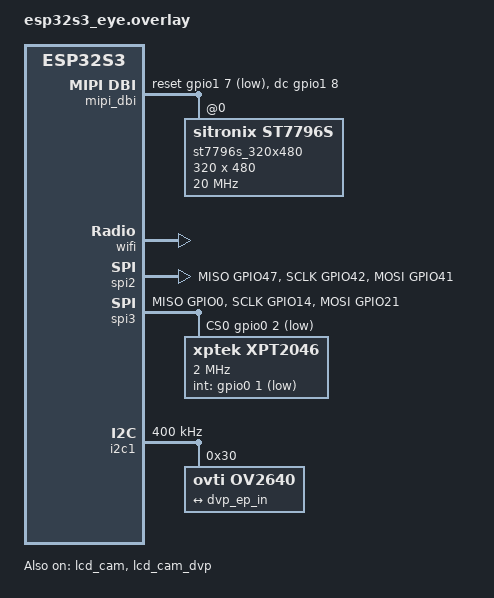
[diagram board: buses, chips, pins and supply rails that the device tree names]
// ---------------------------------------------------------------------------------------------------------------------------------------------
// west build -p always -b esp32s3_eye/esp32s3/procpu -- -DDTC_OVERLAY_FILE=boards/esp32s3_eye.overlay -DEXTRA_CONF_FILE=boards/esp32s3_eye.conf
// ---------------------------------------------------------------------------------------------------------------------------------------------

/* ----------------------|  Display  |---------------------  */
/* https://www.lcdwiki.com/4.0inch_SPI_Module_ST7796 */

// MIPI DBI (Display Bus Interface) - универсальный драйвер-адаптер для управления LCD-контроллерами через SPI.
#include <zephyr/dt-bindings/mipi_dbi/mipi_dbi.h>

/* Узел chosen - Zephyr узел, который указывает какие устройства использовать в этом приложении. */
/ {
    	chosen {
		/* Свойство zephyr,display -  Ключ (property name) в формате vendor,property
			- vendor = zephyr (производитель/namespace)
			- property = display (сущность, которую описывает свойство)
		Присваивание значения - phandle (указатель на узел)
			- & - оператор взятия ссылки на узел
			- st7796s_320x480 - label (метка) другого узла в DTS */
        zephyr,display = &st7796s_320x480;

		/* Свойство zephyr,camera -  Ключ (property name) в формате vendor,property
			- vendor = zephyr (производитель/namespace)
			- property = camera (сущность, которую описывает свойство)
		Присваивание значения - phandle (указатель на узел)
			- & - оператор взятия ссылки на узел
			- lcd_cam_dvp - label (метка) другого узла в DTS */
		zephyr,camera = &lcd_cam_dvp;

		/* Свойство zephyr,touch - обязательно для sample draw_touch_events
		(README сэмпла явно требует, чтобы были заданы оба chosen: zephyr,display И zephyr,touch).
			- vendor = zephyr
			- property = touch
		Присваивание значения - phandle на узел xpt2046, объявленный ниже, внутри &spi3
		(отдельная от дисплея SPI-шина, см. пояснение у узла &spi3). */
		zephyr,touch = &xpt2046;
    	};


	/* Узел mipi_dbi реализует транспортный уровень между:
		- драйвером дисплейного контроллера ST7796S
		- SPI-контроллером ESP32
		- GPIO сигналами (DC, RESET) */
    	mipi_dbi {
		// Использовать драйвер mipi_dbi_spi
		compatible = "zephyr,mipi-dbi-spi";
		// Определить SPI контроллер через ссылку на узел spi2 в devicetree.
		spi-dev = <&spi2>;
		// Определить пин для переключения режима SPI передачи (DC (Data/Command)).
		dc-gpios = <&gpio1 8 GPIO_ACTIVE_HIGH>;  // DC/RS pin
		// Определить пин для аппаратного reset дисплея.
        reset-gpios = <&gpio1 7 GPIO_ACTIVE_LOW>;   // RESET pin
		// Адрес устройства на шине занимает одну 32-битную ячейку.
		#address-cells = <1>;
		// Размер не задаётся (SPI-устройства не имеют диапазона адресов).
		#size-cells = <0>;

		/* Объявление узла st7796s_320x480 дисплея:
		- st7796s_320x480: - Label (метка) для этого узла, используется для ссылок.
		- st7796s@0 - Имя узла в формате name@unit-address
			+ st7796s - имя (произвольное, описательное)
			+ @ - разделитель
			+ 0 - unit address (адрес устройства на шине), взят из datasheet.*/
		st7796s_320x480: st7796s@0 {
			// Использовать драйвер дисплея "sitronix,st7796s".
			compatible = "sitronix,st7796s";
			// Включить устройство.
			status = "okay";
			// Адрес устройства на шине, взят из datasheet.
            		reg = <0>;
			// Максимальная тактовая частота SPI для дисплея.
			mipi-max-frequency = <20000000>;
			// 4 линии для SPI: CLK, MOSI, MISO, CS + отдельный DC пин.
			mipi-mode = "MIPI_DBI_MODE_SPI_4WIRE";
			// Ширина дисплея.
			width = <320>;
			// Высота дисплея.
			height = <480>;

			/* Регистр в контроллере дисплея через который задаются параметры:
			 * D7 - зеркалит по вертикали (Y).
			 * D6 - зеркалит по горизонтали (X).
			 * D5 - меняет X и Y местами (поворот на 90°).
			 * D4 - Направление обновления (сверху вниз или снизу вверх).
			 * D3 - Порядок цветов в памяти (RGB-BGR).
			 * D2 - Направление обновления по горизонтали.
			 * D1 - Не используется (Reserved).
			 * D0 - Не используется (Reserved).
			 * D7 D6 D5 D4 D3 D2 D1 D0
			 * 0  1  1  0  1  0  0  0  ==  104 (перевод из двоичной в десятичную)
			 * 1  1  0  0  1  0  0  0  ==  200 (перевод из двоичной в десятичную)*/
			// madctl = <104>;
			madctl = <72>;
			// madctl = <40>;

			// Настройка gamma curve для ярких цветов.
			//pgc = [00];
			pgc = [D0 06 0C 0E 09 0B 38 34 48 05 13 14 10 14];

			// Настройка gamma curve для тёмных цветов.
			//ngc = [00];
			ngc = [D0 01 06 0C 0C 0F 31 3F 47 0A 16 16 17 16];
		};
	};
};


/* Включаем wifi на плате. */
&wifi {
    status = "okay";
};

/* Переопределяем базовый узел spi2 описывающий SPI контроллер ТОЛЬКО для дисплея.
 * Тач-панель сюда больше НЕ подключаем - см. &spi3 ниже.
 *
 * ПОЧЕМУ: в драйвере ESP32 SPI (spi_esp32_spim.c) есть известный, подтверждённый
 * race condition при использовании нескольких программных cs-gpios на одной шине -
 * CS одного устройства не всегда корректно деактивируется перед транзакцией другого,
 * из-за чего оба чипа временно оказываются выбраны одновременно и конфликтуют на общей
 * линии MISO (мы поймали это осциллографом: CS дисплея дёргался во время транзакций
 * тача, а MISO не проваливался до 0В, а зависал на промежуточном уровне ~1.5В - явный
 * признак коллизии двух выходов на одной линии). См. github.com/zephyrproject-rtos/zephyr
 * issue #65635 ("SPI: ESP32: chip-select misbehaviour with multiple gpio-cs") и issue
 * #100069 (похожая проблема конкретно с mipi-dbi-spi на ESP32-S3). Самое надёжное
 * решение - развести устройства по разным аппаратным SPI-контроллерам (spi2/spi3),
 * а не делить один контроллер несколькими cs-gpios. */
&spi2 {
	// Адрес устройства на шине занимает одну 32-битную ячейку.
	#address-cells = <1>;
	// Размер не задаётся (SPI-устройства не имеют диапазона адресов).
	#size-cells = <0>;
	// Привязка к конфигурации пинов.
	pinctrl-0 = <&spi2_custom_pins>;
	pinctrl-names = "default";
	// Включить устройство.
    status = "okay";
	// Единственное устройство на шине - дисплей, поэтому один CS достаточно и
	// гонка между несколькими cs-gpios здесь в принципе невозможна.
	cs-gpios = <&gpio1 6 GPIO_ACTIVE_LOW>;   /* CS0: дисплей ST7796 (GPIO38, как и было изначально) */
};

/* Переопределяем конфигурацию пинов SPI2 (только дисплей). */
&pinctrl {
    spi2_custom_pins: spi2_custom_pins {
        group1 {
			pinmux = <SPIM2_MISO_GPIO47>,     // MISO pin (SDO on display)
				     <SPIM2_SCLK_GPIO42>;      // SCK pin
		};
		group2 {
			pinmux = <SPIM2_MOSI_GPIO41>;      // MOSI pin (SDI on display)
			output-low;
		};
    };
};

/* ----------------------|  TOUCH XPT2046 (отдельная шина SPI3)  |---------------------  */

/* Тач-панель посажена на ВТОРОЙ независимый аппаратный SPI-контроллер (spi3), а не
 * на spi2 вместе с дисплеем. Так как на этой шине только одно устройство, гонка между
 * несколькими cs-gpios (см. пояснение у &spi2 выше) физически невозможна - конфликтовать
 * попросту не с чем.
 *
 * ВНИМАНИЕ: T_CLK/T_DIN/T_DO нужно физически перепаять/перекинуть проводом с GPIO42/41/47
 * (где они были при разделяемой шине) на GPIO14/21/19 ниже. T_CS (GPIO2) и T_IRQ (GPIO1)
 * менять не нужно - осциллограф уже подтвердил, что они физически подключены верно и
 * работают (T_IRQ корректно падает при касании, T_CS корректно даёт короткий импульс).
 *
 * GPIO14 и GPIO21 - это обычные, не strapping GPIO на ESP32-S3, в этом проекте нигде
 * больше не заняты (камера/дисплей/PSRAM/Flash их не используют). GPIO19 - это, как
 * правило, вывод USB D- (native USB OTG); большинство CAM-плат на базе ESP32-S3-CAM
 * используют для прошивки/UART отдельный USB-UART мост (CP2102/CH340), а не native USB,
 * и тогда GPIO19/20 свободны - но это НУЖНО проверить по схеме именно вашей платы. Если
 * сомневаетесь - замените GPIO19 на любой другой проверенно свободный пин. */
&spi3 {
	#address-cells = <1>;
	#size-cells = <0>;
	status = "okay";
	pinctrl-0 = <&spi3_custom_pins>;
	pinctrl-names = "default";
	// Единственное устройство на шине - тач, поэтому один CS достаточно.
	cs-gpios = <&gpio0 2 GPIO_ACTIVE_LOW>;   /* CS0: тач-панель T_CS (GPIO2) */

	xpt2046: xpt2046@0 {
		// Драйвер xptek,xpt2046 (drivers/input/input_xpt2046.c)
		compatible = "xptek,xpt2046";
		// Единственное устройство на шине spi3 -> индекс 0 в cs-gpios.
		reg = <0>;
		// Макс. частота SPI для XPT2046 (датащит допускает до ~2 МГц-2.5МГц в этом режиме чтения).
		spi-max-frequency = <2000000>;
		// T_IRQ (PENIRQ) - открытый сток, активный низкий уровень при касании.
		int-gpios = <&gpio0 1 GPIO_ACTIVE_LOW>;
		// Логическое разрешение, в которое драйвер маппит "сырые" координаты АЦП.
		// Взято равным width/height дисплея (320x480), см. узел st7796s_320x480 выше.
		touchscreen-size-x = <320>;
		touchscreen-size-y = <480>;
		// Диапазон "сырых" значений АЦП XPT2046 (12-бит -> 0..4095).
		// Это стартовые значения "по датащиту" - реальный рабочий диапазон обычно уже
		// (например 200..3900) и может требовать инверсии/свопа осей в зависимости от
		// физической ориентации панели относительно madctl дисплея. Требуется калибровка
		// через сам сэмпл draw_touch_events (по нему легко увидеть инверсию/своп осей).
		// min-x = <0>;
		// min-y = <0>;
		// max-x = <4095>;
		// max-y = <4095>;
		min-x = <300>;
		min-y = <300>;
		max-x = <3900>;
		max-y = <3900>;
	};
};

&pinctrl {
	spi3_custom_pins: spi3_custom_pins {
		group1 {
			pinmux = <SPIM3_MISO_GPIO0>,       // T_DO  (было GPIO47, ПЕРЕПАЯТЬ - проверить свободен ли GPIO19)
				     <SPIM3_SCLK_GPIO14>;      // T_CLK (было GPIO42, ПЕРЕПАЯТЬ)
		};
		group2 {
			pinmux = <SPIM3_MOSI_GPIO21>;      // T_DIN (было GPIO41, ПЕРЕПАЯТЬ)
			output-low;
		};
	};
};

// Отключить дисплей предусмотренный по умолчанию.
&st7789v {
    status = "disabled";
};

/* ----------------------|  CAMERA OV2640  |---------------------  */


/* ESP32-S3 DVP-контроллер использует DMA для передачи пикселей с модуля камеры в PSRAM/SRAM микроконтроллера без участия CPU. */
&dma {
	// Включить устройство.
	status = "okay";
};

/* Переопределяем базовый узел i2c1 описывающий I2C контроллер для камеры. */
&i2c1 {
	// Включить устройство.
	status = "okay";
	// Частота работы I2C шины в Герцах. (I2C_BITRATE_FAST = 400000 (400 kHz (400,000 Hz)))
	clock-frequency = <I2C_BITRATE_FAST>; // <I2C_BITRATE_STANDARD>
	// Привязка к конфигурации пинов.
	pinctrl-0 = <&i2c1_default>;
	pinctrl-names = "default";

	/* Объявление узла OV2640 камеры
		- ov2640: - Label (метка) для этого узла
		- ov2640@30 - Имя узла в формате name@unit-address
			+ ov2640 - имя (произвольное, описательное)
			+ @ - разделитель
			+ 30 - unit address (адрес устройства на шине), взят из datasheet для OV2640.*/
	ov2640: ov2640@30 {
		// Использовать драйвер камеры "sitronix,st7796s".
		compatible = "ovti,ov2640";
		// Адрес устройства на шине I2C, взят из datasheet для OV2640.
		reg = <0x30>;
		// Включить устройство.
		status = "okay";
		// Дополнительный контроль частоты, специфичное для OV2640 свойство.
		clock-rate-control = <0x80>;

		/* Узел port - Video Graph binding.
			- Специальная структура для описания видео-потоков, описывает соединения между видео-компонентами.*/
		port {
			/* Узел endpoint - точка подключения
				- ov2640_ep_out: - Label для endpoint (ep = endpoint, out = выходной (от камеры наружу))
				- endpoint - стандартное имя узла для Video Graph */
			ov2640_ep_out: endpoint {
				// Связь с другим endpoint, указывает на label endpoint на другой стороне соединения.
				remote-endpoint = <&dvp_ep_in>;
			};
		};
	};
};


/* Универсальный периферийный контроллер, который может работать в двух режимах:
 *  LCD mode  → управление дисплеями / CAM mode  → интерфейс камеры  */
&lcd_cam {
	// Включить устройство.
	status = "okay";
	// Привязка к конфигурации пинов (включает все пины камеры).
	pinctrl-0 = <&lcd_cam_default>;
	pinctrl-names = "default";
};

/* DCMI (Digital Camera Module Interface (аппаратный модуль для захвата видео, принимает параллельный поток от камеры))
 * DVP (Digital Video Port (параллельный интерфейс камеры))
	- &lcd_cam_dvp - ссылка на DCMI контроллер */
&lcd_cam_dvp {
	// Включить устройство.
	status = "okay";
	// Частота тактирования XCLK, подаваемая ESP32-S3 на вход камеры OV2640
	// cam-clk = <10000000>; // <8000000>
	cam-clk = <4000000>;
	// Указывает, что источником видеопотока для DVP является OV2640.
	source = <&ov2640>;

	/* Узел port - Video Graph binding.
		- Специальная структура для описания видео-потоков, описывает соединения между видео-компонентами. */
	port {
		/* Узел endpoint - точка подключения
			- dvp_ep_in: - Label для endpoint
			- endpoint - стандартное имя узла для Video Graph*/
		dvp_ep_in: endpoint {
			// Указывает на камеру: Данные от ov2640_ep_out поступают сюда
			remote-endpoint = <&ov2640_ep_out>;
			// Ширина шины данных, количество линий данных между камерой и DCMI (8-bit параллельная шина)
			bus-width = <8>;
			// Камера подает импульс в начале каждой горизонтальной линии пикселей (Полярность [<0> = low, <1> = high])
			hsync-active = <0>;
			// Камера подает импульс в начале каждого кадра (Полярность [<0> = low, <1> = high])
			vsync-active = <0>;
			// На каком фронте Pixel Clock захватывать данные ([<0> = falling edge, <1> = rising edge])
			pclk-sample = <1>;
		};
	};
};




/* Распиновка для устройств:

	ST7796S          →    ESP32-S3
	────────────────────────────────
	VCC     (3.3V!)  →    3V3
	GND              →    GND
	CS               →    GPIO38
	RESET            →    GPIO39
	DC/RS            →    GPIO40
	SDI (MOSI)       →    GPIO41
	SCK              →    GPIO42
	LED              →    3V3 (через резистор 150Ω)
	SDO (MISO)       →    GPIO47 (опционально)

	XPT2046 (touch)  →    ESP32-S3     (ОТДЕЛЬНАЯ шина SPI3, НЕ общая с дисплеем!)
	────────────────────────────────
	T_CLK            →    GPIO14  (ПЕРЕПАЯТЬ с GPIO42 - проверить, что пин свободен на вашей плате)
	T_CS             →    GPIO2   (не менять, уже подтверждено осциллографом)
	T_DIN            →    GPIO21  (ПЕРЕПАЯТЬ с GPIO41 - проверить, что пин свободен на вашей плате)
	T_DO             →    GPIO0  (ПЕРЕПАЯТЬ с GPIO47 - проверить, что не задействован под native USB)
	T_IRQ            →    GPIO1   (не менять, уже подтверждено осциллографом)

	ESP32S3 →   CAMERA
	────────────────────────
	GPIO4      →   CAM_SIOD
	GPIO5      →   CAM_SIOC
	GPIO6      →   CAM_VYSNC
	GPIO7      →   CAM_HREF
	GPIO15     →   CAM_XCLK
	GPIO16     →   CAM_Y9
	GPIO17     →   CAM_Y8
	GPIO18     →   CAM_Y7
	GPIO8      →   CAM_Y4
	GPIO9      →   CAM_Y3
	GPIO10     →   CAM_Y5
	GPIO11     →   CAM_Y2
	GPIO12     →   CAM_Y6
	GPIO13     →   CAM_PCLK
*/
